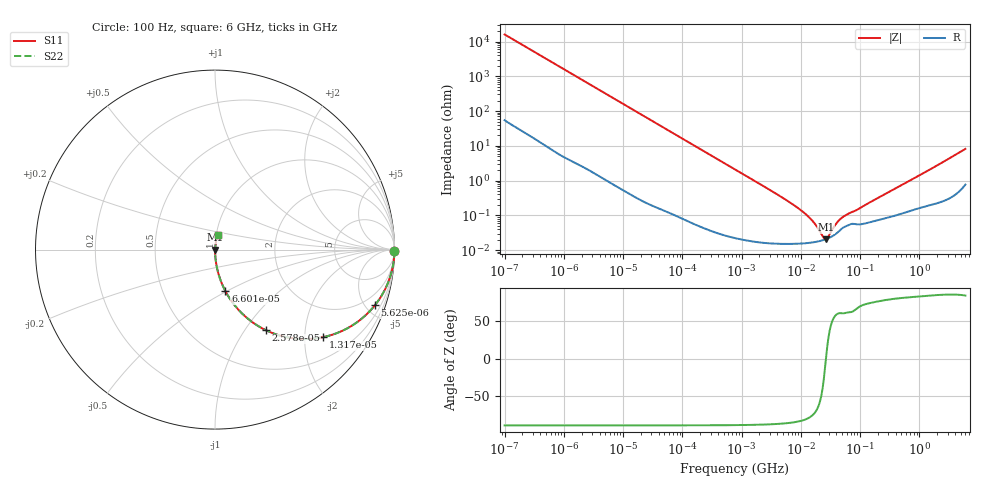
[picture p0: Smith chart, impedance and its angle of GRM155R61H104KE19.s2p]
!Murata Part Number: GRM155R61H104KE19
!These Parameters are Measured in Series Mode Connection
!Data Generated on Mar 30, 2021
!  o--ll--o
!Port1  Port2
!  o------o
!Operation Temp=25[degC], DC Bias Voltage=0[V]
!Freq. Start=100[Hz] Stop=6[GHz] 401[Steps]
# Hz S RI R 50
!Freq.(Hz) S11(Real) S11(Imag) S21(Real) S21(Imag) S12(Real) S12(Imag) S22(Real) S22(Imag)
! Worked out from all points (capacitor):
!   401 points, 100 Hz to 6 GHz, reference 50 ohm
!   read as one part in series: C = 99.4 nF near 109 Hz
!   lowest |Z| = 20.7 mohm at 26.62 MHz (marker M1)
!   series resonance near 26.59 MHz, so ESL is about 360 pH
!   S11 on the Smith chart (normalised r, x): 100 Hz: open; 5.625 kHz: 1.02, -5.73; 13.17 kHz: 1.01, -2.45; 25.78 kHz: 1.00, -1.25; 66 kHz: 1.00, -0.49; 6 GHz: 1.02, +0.16
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100  0.9999 -0.00625  6.04e-05 0.00625  6.04e-05 0.00625  0.9999 -0.00625
627  0.9984 -0.039  0.00164 0.039  0.00164 0.039  0.9984 -0.039
2008  0.9843 -0.1228  0.0157 0.1228  0.0157 0.1228  0.9843 -0.1228
5625  0.8907 -0.3104  0.1093 0.3104  0.1093 0.3104  0.8907 -0.3104
8416  0.7854 -0.4089  0.2146 0.4089  0.2146 0.4089  0.7854 -0.4089
13169  0.6004 -0.4882  0.3996 0.4882  0.3996 0.4882  0.6004 -0.4882
18016  0.446 -0.4954  0.554 0.4954  0.554 0.4954  0.446 -0.4954
25777  0.2831 -0.4488  0.7169 0.4488  0.7169 0.4488  0.2831 -0.4488
40335  0.1396 -0.3447  0.8604 0.3447  0.8604 0.3447  0.1396 -0.3447
66005  0.0578 -0.2311  0.9422 0.2311  0.9422 0.2311  0.0578 -0.2311
184852  0.00816 -0.0872  0.9918 0.0872  0.9918 0.0872  0.00816 -0.0872
774597  0.000664 -0.021  0.9993 0.021  0.9993 0.021  0.000664 -0.021
6644369  0.000156 -0.00231  0.9998 0.00231  0.9998 0.00231  0.000156 -0.00231
1.087309e7  0.000157 -0.00125  0.9998 0.00125  0.9998 0.00125  0.000157 -0.00125
1.555665e7  0.000166 -0.000691  0.9998 0.000691  0.9998 0.000691  0.000166 -0.000691
2.327686e7  0.000192 -0.000164  0.9998 0.000164  0.9998 0.000164  0.000192 -0.000164
2.662322e7  0.000207 1.4e-06  0.9998 -1.4e-06  0.9998 -1.4e-06  0.000207 1.4e-06
2.911731e7  0.00022 0.000111  0.9998 -0.000111  0.9998 -0.000111  0.00022 0.000111
3.983537e7  0.000301 0.000503  0.9997 -0.000503  0.9997 -0.000503  0.000301 0.000503
4.983056e7  0.000423 0.000758  0.9996 -0.000758  0.9996 -0.000758  0.000423 0.000758
3.124326e8  0.000902 0.00469  0.9991 -0.00469  0.9991 -0.00469  0.000902 0.00469
6e9  0.014 0.0796  0.986 -0.0796  0.986 -0.0796  0.014 0.0796
